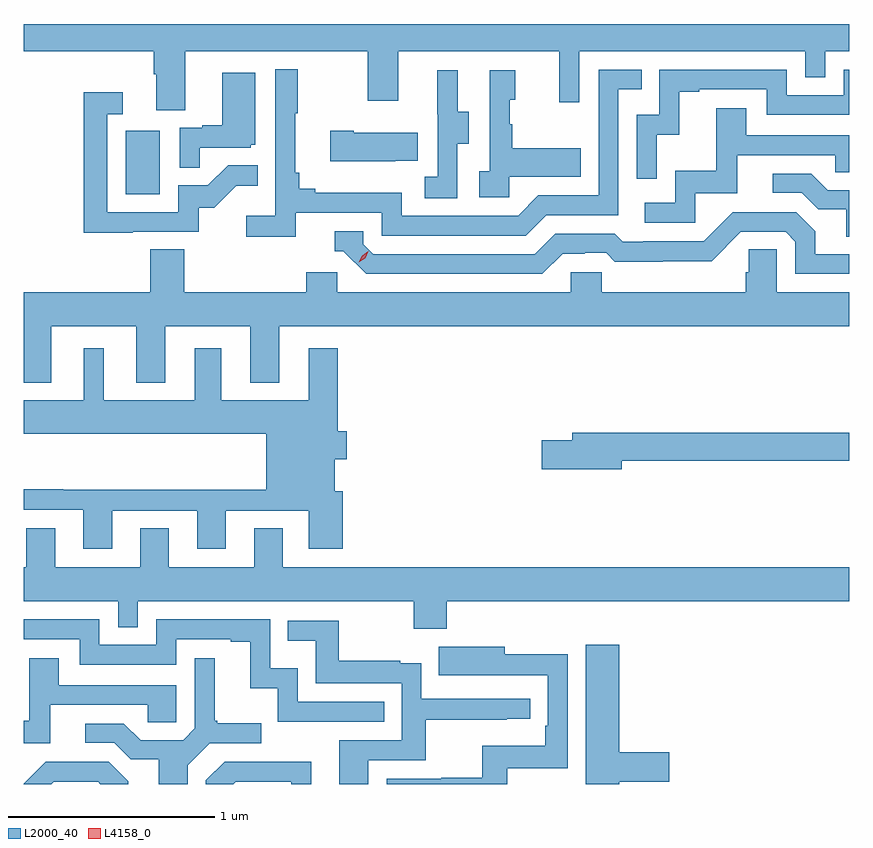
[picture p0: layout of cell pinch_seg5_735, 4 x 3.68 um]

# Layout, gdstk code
import gdstk
lib = gdstk.Library(unit=1e-6, precision=1e-09)
def R(c, l, rs):  # rectangles x0, y0, x1, y1
    for r in rs: c.add(gdstk.rectangle(r[:2], r[2:], *l))
def P(c, l, *ps):  # polygons
    for p in ps: c.add(gdstk.Polygon(p, *l))
L2000_40 = (2000, 40)
L4158_0 = (4158, 0)

pinch_seg5_735 = lib.new_cell('pinch_seg5_735')
R(pinch_seg5_735, L2000_40, [(868.394,914.676,868.558,914.983)])
P(pinch_seg5_735, L2000_40, [(868.681,915.368),(869.566,915.368),(869.566,915.129),(869.713,915.129),(869.713,915.368),(870.494,915.368),(870.494,915.12),(870.591,915.12),(870.591,915.368),(871.686,915.368),(871.686,915.241),(871.782,915.241),(871.782,915.368),(871.899,915.368),(871.899,915.5),(867.899,915.5),(867.899,915.368),(868.529,915.368),(868.529,915.256),(868.541,915.256),(868.541,915.082),(868.681,915.082)],
  [(869.216,914.586),(869.634,914.586),(869.634,914.475),(870.331,914.475),(870.43,914.574),(870.78,914.574),(870.78,915.183),(870.893,915.183),(870.893,915.279),(870.684,915.279),(870.684,914.67),(870.393,914.67),(870.294,914.571),(869.73,914.571),(869.73,914.683),(869.311,914.683),(869.311,914.702),(869.234,914.702),(869.234,914.779),(869.215,914.779),(869.215,915.067),(869.227,915.067),(869.227,915.28),(869.118,915.28),(869.118,914.572),(868.977,914.572),(868.977,914.47),(869.216,914.47)],
  [(870.966,914.963),(871.076,914.963),(871.076,915.171),(871.171,915.171),(871.171,915.183),(871.5,915.183),(871.5,915.06),(871.899,915.06),(871.899,915.279),(871.872,915.279),(871.872,915.156),(871.596,915.156),(871.596,915.279),(870.978,915.279),(870.978,915.06),(870.87,915.06),(870.87,914.751),(870.966,914.751)],
  [(870.252,914.759),(870.599,914.759),(870.599,914.899),(870.265,914.899),(870.265,915.014),(870.255,915.014),(870.255,915.132),(870.28,915.132),(870.28,915.277),(870.156,915.277),(870.156,914.786),(870.105,914.786),(870.105,914.661),(870.252,914.661)],
  [(870,914.92),(870.055,914.92),(870.055,915.075),(870.001,915.075),(870.001,915.277),(869.903,915.277),(869.903,915.063),(869.904,915.063),(869.904,914.759),(869.841,914.759),(869.841,914.656),(870,914.656)],
  [(868.751,914.901),(868.998,914.901),(868.998,914.916),(869.02,914.916),(869.02,915.265),(868.862,915.265),(868.862,915.01),(868.763,915.01),(868.763,914.997),(868.656,914.997),(868.656,914.803),(868.751,914.803)],
  [(868.427,914.493),(868.746,914.493),(868.746,914.61),(868.822,914.61),(868.929,914.717),(869.033,914.717),(869.033,914.816),(868.889,914.816),(868.791,914.718),(868.647,914.718),(868.647,914.589),(868.305,914.589),(868.305,915.063),(868.378,915.063),(868.378,915.169),(868.189,915.169),(868.189,914.488),(868.427,914.488)],
  [(871.152,914.679),(871.357,914.679),(871.357,914.865),(871.831,914.865),(871.831,914.781),(871.899,914.781),(871.899,914.961),(871.399,914.961),(871.399,915.091),(871.255,915.091),(871.255,914.788),(871.056,914.788),(871.056,914.634),(870.909,914.634),(870.909,914.538),(871.152,914.538)],
  [(869.699,914.837),(869.807,914.837),(869.807,914.974),(869.497,914.974),(869.497,914.982),(869.385,914.982),(869.385,914.834),(869.699,914.834)],
  [(871.899,914.694),(871.795,914.694),(871.714,914.775),(871.527,914.775),(871.527,914.682),(871.668,914.682),(871.748,914.602),(871.883,914.602),(871.883,914.47),(871.899,914.47)],
  [(870.511,914.388),(870.618,914.388),(870.618,914.391),(870.721,914.391),(870.763,914.349),(870.996,914.349),(870.996,914.351),(871.232,914.351),(871.374,914.493),(871.59,914.493),(871.638,914.445),(871.638,914.289),(871.899,914.289),(871.899,914.385),(871.735,914.385),(871.735,914.495),(871.641,914.589),(871.335,914.589),(871.194,914.448),(870.901,914.448),(870.901,914.445),(870.802,914.445),(870.763,914.484),(870.474,914.484),(870.375,914.385),(869.592,914.385),(869.544,914.433),(869.544,914.496),(869.405,914.496),(869.405,914.4),(869.448,914.4),(869.559,914.289),(870.412,914.289)],
  [(868.033,914.036),(868.445,914.036),(868.445,913.763),(868.585,913.763),(868.585,914.036),(868.997,914.036),(868.997,913.763),(869.137,913.763),(869.137,914.036),(871.899,914.036),(871.899,914.2),(871.548,914.2),(871.548,914.408),(871.411,914.408),(871.411,914.298),(871.397,914.298),(871.397,914.2),(870.699,914.2),(870.699,914.298),(870.549,914.298),(870.549,914.2),(869.418,914.2),(869.418,914.298),(869.267,914.298),(869.267,914.2),(868.676,914.2),(868.676,914.408),(868.511,914.408),(868.511,914.2),(867.899,914.2),(867.899,913.763),(868.033,913.763)],
  [(868.327,913.143),(868.739,913.143),(868.739,912.957),(868.879,912.957),(868.879,913.143),(869.279,913.143),(869.279,912.957),(869.444,912.957),(869.444,913.236),(869.407,913.236),(869.407,913.391),(869.464,913.391),(869.464,913.526),(869.42,913.526),(869.42,913.93),(869.279,913.93),(869.279,913.678),(868.855,913.678),(868.855,913.93),(868.727,913.93),(868.727,913.678),(868.288,913.678),(868.288,913.93),(868.19,913.93),(868.19,913.678),(867.899,913.678),(867.899,913.514),(869.075,913.514),(869.075,913.244),(868.091,913.244),(868.091,913.247),(867.899,913.247),(867.899,913.146),(868.187,913.146),(868.187,912.957),(868.327,912.957)],
  [(870.796,913.384),(871.899,913.384),(871.899,913.52),(870.557,913.52),(870.557,913.484),(870.408,913.484),(870.408,913.342),(870.796,913.342)],
  [(869.948,912.704),(871.899,912.704),(871.899,912.868),(869.155,912.868),(869.155,913.058),(869.015,913.058),(869.015,912.868),(868.603,912.868),(868.603,913.058),(868.463,913.058),(868.463,912.868),(868.051,912.868),(868.051,913.058),(867.912,913.058),(867.912,912.868),(867.899,912.868),(867.899,912.704),(868.356,912.704),(868.356,912.577),(868.452,912.577),(868.452,912.704),(869.788,912.704),(869.788,912.569),(869.948,912.569)],
  [(869.645,912.216),(869.226,912.216),(869.226,912.379),(869.094,912.379),(869.094,912.615),(868.542,912.615),(868.542,912.492),(868.266,912.492),(868.266,912.615),(867.899,912.615),(867.899,912.519),(868.17,912.519),(868.17,912.396),(868.638,912.396),(868.638,912.519),(868.901,912.519),(868.901,912.507),(868.997,912.507),(868.997,912.281),(869.13,912.281),(869.13,912.12),(869.645,912.12)],
  [(869.569,911.934),(869.846,911.934),(869.846,912.13),(870.239,912.13),(870.239,912.135),(870.352,912.135),(870.352,912.231),(869.826,912.231),(869.826,912.403),(869.723,912.403),(869.723,912.415),(869.425,912.415),(869.425,912.609),(869.179,912.609),(869.179,912.512),(869.314,912.512),(869.314,912.306),(869.73,912.306),(869.73,912.03),(869.429,912.03),(869.429,911.818),(869.569,911.818)],
  [(870.784,911.83),(871.027,911.83),(871.027,911.972),(870.784,911.972),(870.784,912.493),(870.623,912.493),(870.623,911.818),(870.784,911.818)],
  [(870.241,911.895),(870.534,911.895),(870.534,912.446),(870.229,912.446),(870.229,912.484),(869.911,912.484),(869.911,912.344),(870.125,912.344),(870.125,912.345),(870.438,912.345),(870.438,912.1),(870.425,912.1),(870.425,912.004),(870.12,912.004),(870.12,911.849),(869.923,911.849),(869.923,911.844),(869.658,911.844),(869.658,911.818),(870.241,911.818)],
  [(868.027,912.201),(868.501,912.201),(868.501,912.117),(868.638,912.117),(868.638,912.297),(868.069,912.297),(868.069,912.427),(867.925,912.427),(867.925,912.124),(867.899,912.124),(867.899,912.015),(868.027,912.015)],
  [(868.693,911.908),(868.8,912.015),(869.05,912.015),(869.05,912.112),(868.837,912.112),(868.837,912.124),(868.825,912.124),(868.825,912.427),(868.728,912.427),(868.728,912.087),(868.671,912.03),(868.465,912.03),(868.384,912.111),(868.197,912.111),(868.197,912.018),(868.338,912.018),(868.418,911.938),(868.553,911.938),(868.553,911.818),(868.693,911.818)],
  [(868.926,911.829),(869.196,911.829),(869.196,911.818),(869.293,911.818),(869.293,911.927),(869.088,911.927),(869.088,911.925),(868.872,911.925),(868.782,911.835),(868.782,911.818),(868.915,911.818)],
  [(868.044,911.829),(868.26,911.829),(868.271,911.818),(868.405,911.818),(868.405,911.831),(868.311,911.925),(868.005,911.925),(867.899,911.819),(867.899,911.818),(868.033,911.818)])
P(pinch_seg5_735, L4158_0, [(869.523,914.345),(869.523,914.346),(869.539,914.378),(869.569,914.398),(869.569,914.398),(869.569,914.398),(869.554,914.365),(869.523,914.345)])

lib.write_gds('pinch_seg5_735.gds')
